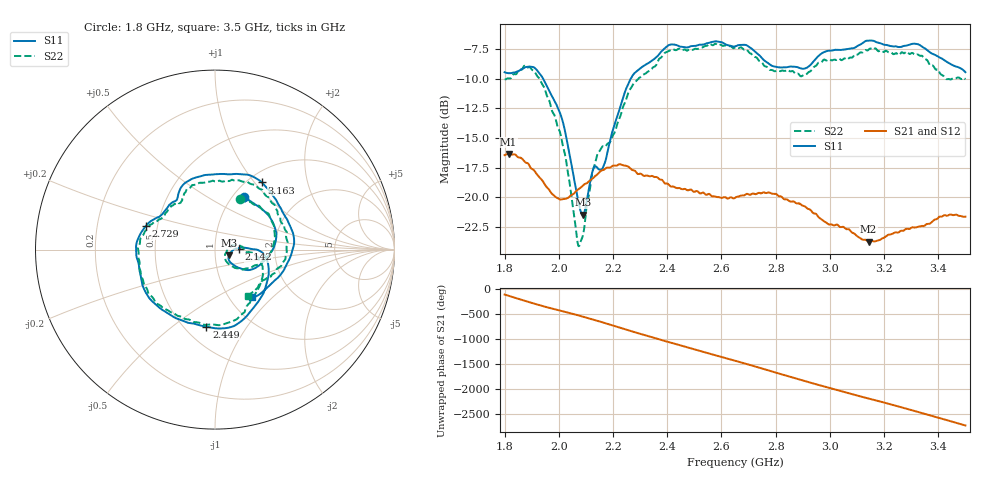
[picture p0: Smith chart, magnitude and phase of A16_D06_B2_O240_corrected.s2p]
! Created with skrf 1.9.0 (http://scikit-rf.org).
# Hz S RI R 50.0
!freq ReS11 ImS11 ReS21 ImS21 ReS12 ImS12 ReS22 ImS22
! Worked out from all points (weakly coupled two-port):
!   1601 points, 1.8 GHz to 3.5 GHz, reference 50 ohm
!   highest |S21| = -16.36 dB at 1.815 GHz (marker M1); lowest = -23.8 dB at 3.143 GHz (marker M2)
!   lowest |S11| = -21.5 dB at 2.089 GHz (marker M3), VSWR 1.18, Z = 58.4 - j3.62 ohm
!   |S11| at or under -10 dB: 1.942 GHz to 2.265 GHz (322.9 MHz wide, 15.3 % of centre)
!   |S22| runs from -24.1 to -7.0 dB; largest |S21 - S12| = 0.0025
!   S11 on the Smith chart (normalised r, x): 1.8 GHz: 1.12, +0.75; 2.142 GHz: 1.31, +0.00; 2.449 GHz: 0.63, -0.67; 2.729 GHz: 0.43, +0.13; 3.163 GHz: 1.16, +1.09; 3.5 GHz: 1.27, -0.76
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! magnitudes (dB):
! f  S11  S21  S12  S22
! 1.8 GHz  -9.4  -16.5  -16.4  -10.0
! 1.815 GHz  -9.5  -16.4  -16.4  -10.0
! 1.881 GHz  -9.0  -17.1  -17.1  -9.0
! 1.942 GHz  -10.0  -18.7  -18.7  -10.6
! 2.013 GHz  -13.5  -20.2  -20.2  -15.4
! 2.068 GHz  -19.9  -19.4  -19.4  -23.6
! 2.084 GHz  -21.4  -19.1  -19.1  -23.6
! 2.089 GHz  -21.5  -19.0  -19.0  -23.2
! 2.125 GHz  -17.8  -18.4  -18.4  -17.8
! 2.142 GHz  -17.5  -18.1  -18.0  -16.4
! 2.168 GHz  -17.2  -17.7  -17.7  -15.7
! 2.265 GHz  -10.0  -17.6  -17.6  -10.8
! 2.367 GHz  -8.0  -18.4  -18.4  -8.4
! 2.449 GHz  -7.3  -19.3  -19.3  -7.6
! 2.65 GHz  -7.3  -20.1  -20.0  -7.4
! 2.729 GHz  -7.8  -19.7  -19.7  -8.2
! 2.934 GHz  -8.7  -21.2  -21.2  -9.2
! 3.143 GHz  -6.8  -23.8  -23.7  -7.5
! 3.163 GHz  -6.8  -23.7  -23.7  -7.5
! 3.217 GHz  -7.2  -23.2  -23.1  -7.8
! 3.325 GHz  -7.1  -22.5  -22.5  -8.0
! 3.5 GHz  -9.4  -21.7  -21.6  -10.0
